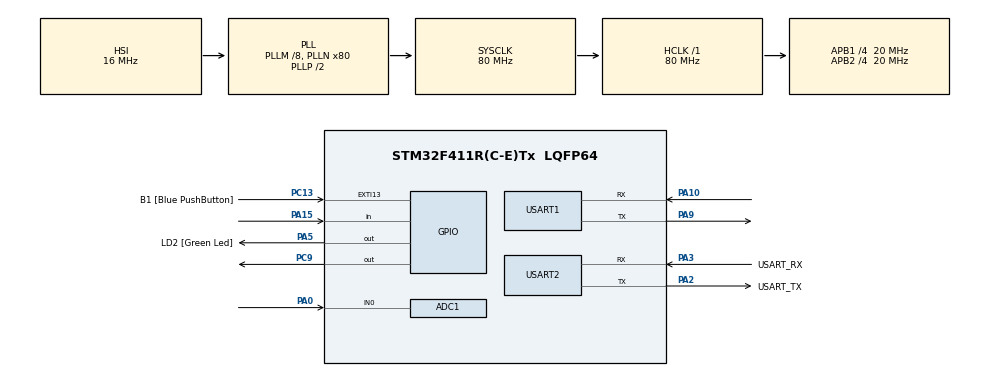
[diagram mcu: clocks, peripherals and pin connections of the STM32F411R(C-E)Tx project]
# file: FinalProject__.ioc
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ADC1.Channel-0\#ChannelRegularConversion=ADC_CHANNEL_0
ADC1.ClockPrescaler=ADC_CLOCK_SYNC_PCLK_DIV8
ADC1.ContinuousConvMode=ENABLE
ADC1.EOCSelection=ADC_EOC_SEQ_CONV
ADC1.InjNumberOfConversion=0
ADC1.NbrOfConversion=1
ADC1.NbrOfConversionFlag=1
ADC1.Rank-0\#ChannelRegularConversion=1
ADC1.Resolution=ADC_RESOLUTION_10B
ADC1.SamplingTime-0\#ChannelRegularConversion=ADC_SAMPLETIME_3CYCLES
ADC1.ScanConvMode=ENABLE
ADC1.master=1
Dma.Request0=USART2_RX
Dma.USART2_RX.0.Direction=DMA_PERIPH_TO_MEMORY
Dma.USART2_RX.0.FIFOMode=DMA_FIFOMODE_DISABLE
Dma.USART2_RX.0.Instance=DMA1_Stream5
Dma.USART2_RX.0.MemDataAlignment=DMA_MDATAALIGN_BYTE
Dma.USART2_RX.0.MemInc=DMA_MINC_ENABLE
Dma.USART2_RX.0.Mode=DMA_CIRCULAR
Dma.USART2_RX.0.PeriphDataAlignment=DMA_PDATAALIGN_BYTE
Dma.USART2_RX.0.PeriphInc=DMA_PINC_DISABLE
Dma.USART2_RX.0.Priority=DMA_PRIORITY_LOW
Mcu.Family=STM32F4
Mcu.Name=STM32F411R(C-E)Tx
Mcu.Package=LQFP64
NVIC.ADC_IRQn=true\:0\:0\:false\:false\:true\:true\:true
NVIC.DMA1_Stream5_IRQn=true\:0\:0\:false\:false\:true\:false\:true
NVIC.PriorityGroup=NVIC_PRIORITYGROUP_0
NVIC.TIM1_UP_TIM10_IRQn=true\:0\:0\:false\:false\:true\:true\:true
NVIC.TIM3_IRQn=true\:0\:0\:false\:false\:true\:true\:true
NVIC.USART2_IRQn=true\:0\:0\:false\:false\:true\:true\:true
PA0-WKUP.Signal=ADCx_IN0
PA10.Mode=Asynchronous
PA10.Signal=USART1_RX
PA13.GPIO_Label=TMS
PA13.Mode=Serial_Wire
PA13.Signal=SYS_JTMS-SWDIO
PA14.GPIO_Label=TCK
PA14.Mode=Serial_Wire
PA14.Signal=SYS_JTCK-SWCLK
PA15.Signal=GPIO_Input
PA2.GPIO_Label=USART_TX
PA2.Mode=Asynchronous
PA2.Signal=USART2_TX
PA3.GPIO_Label=USART_RX
PA3.Mode=Asynchronous
PA3.Signal=USART2_RX
PA5.GPIO_Label=LD2 [Green Led]
PA5.GPIO_ModeDefaultOutputPP=GPIO_MODE_OUTPUT_OD
PA5.GPIO_PuPd=GPIO_PULLUP
PA5.Signal=GPIO_Output
PA9.Mode=Asynchronous
PA9.Signal=USART1_TX
PB3.GPIO_Label=SWO
PB3.Signal=SYS_JTDO-SWO
PC13-ANTI_TAMP.GPIO_Label=B1 [Blue PushButton]
PC13-ANTI_TAMP.GPIO_ModeDefaultEXTI=GPIO_MODE_IT_FALLING
PC13-ANTI_TAMP.Signal=GPXTI13
PC14-OSC32_IN.Mode=LSE-External-Oscillator
PC14-OSC32_IN.Signal=RCC_OSC32_IN
PC15-OSC32_OUT.Mode=LSE-External-Oscillator
PC15-OSC32_OUT.Signal=RCC_OSC32_OUT
PC9.GPIO_ModeDefaultOutputPP=GPIO_MODE_OUTPUT_OD
PC9.GPIO_PuPd=GPIO_PULLUP
PC9.PinState=GPIO_PIN_SET
PC9.Signal=GPIO_Output
PH0\ -\ OSC_IN.Mode=HSE-External-Clock-Source
PH0\ -\ OSC_IN.Signal=RCC_OSC_IN
PH1\ -\ OSC_OUT.Mode=HSE-External-Clock-Source
PH1\ -\ OSC_OUT.Signal=RCC_OSC_OUT
ProjectManager.HeapSize=0x200
ProjectManager.StackSize=0x400
ProjectManager.TargetToolchain=STM32CubeIDE
RCC.48MHZClocksFreq_Value=40000000
RCC.AHBFreq_Value=80000000
RCC.APB1CLKDivider=RCC_HCLK_DIV4
RCC.APB1Freq_Value=20000000
RCC.APB1TimFreq_Value=40000000
RCC.APB2CLKDivider=RCC_HCLK_DIV4
RCC.APB2Freq_Value=20000000
RCC.APB2TimFreq_Value=40000000
RCC.CortexFreq_Value=80000000
RCC.FLatency-AdvancedSettings=FLASH_LATENCY_2
RCC.HCLKFreq_Value=80000000
RCC.HSE_VALUE=8000000
RCC.HSI_VALUE=16000000
RCC.PLLM=8
RCC.PLLN=80
RCC.SYSCLKFreq_VALUE=80000000
RCC.SYSCLKSource=RCC_SYSCLKSOURCE_PLLCLK
RCC.VCOOutputFreq_Value=160000000
SH.ADCx_IN0.0=ADC1_IN0,IN0
TIM1.Prescaler=40000 - 1
TIM3.Period=1000
TIM3.Prescaler=40000 - 1
USART1.VirtualMode=VM_ASYNC
USART2.VirtualMode=VM_ASYNC
VP_TIM1_VS_ClockSourceINT.Mode=Internal
VP_TIM3_VS_ClockSourceINT.Mode=Internal
board=NUCLEO-F411RE

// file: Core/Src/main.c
/* USER CODE BEGIN Header */
/**
  ******************************************************************************
  * @file           : main.c
  * @brief          : Main program body
  ******************************************************************************
  * @attention
  *
  * <h2><center>&copy; Copyright (c) 2020 STMicroelectronics.
  * All rights reserved.</center></h2>
  *
  * This software component is licensed by ST under BSD 3-Clause license,
  * the "License"; You may not use this file except in compliance with the
  * License. You may obtain a copy of the License at:
  *                        opensource.org/licenses/BSD-3-Clause
  *
  ******************************************************************************
  */
/* USER CODE END Header */
#include "main.h"

/* USER CODE BEGIN Includes */
#include "DHT.h"
#include <math.h>
/* USER CODE END Includes */

/* USER CODE BEGIN PTD */
DHT_DataTypedef DHT11_Data;
float T1 , T2 , H1 , H2;
/* USER CODE END PTD */

/* USER CODE BEGIN PD */

#define RELAY_ON 1
#define RELAY_OFF 0
#define RELAY_GPIO GPIOA
#define RELAY_PIN GPIO_PIN_5

#define LED_WHITE 2
#define LED_NORMAL 1
#define LED_WATERING 0

#define FAN_ON 1
#define FAN_OFF 0
#define e 2.718281828459

#define FAN_GPIO GPIOC
#define FAN_PIN GPIO_PIN_9
/* USER CODE END PD */

ADC_HandleTypeDef hadc1;

TIM_HandleTypeDef htim1;
TIM_HandleTypeDef htim3;

UART_HandleTypeDef huart1;
UART_HandleTypeDef huart2;
DMA_HandleTypeDef hdma_usart2_rx;

void SystemClock_Config(void);
static void MX_GPIO_Init(void);
static void MX_DMA_Init(void);
static void MX_USART2_UART_Init(void);
static void MX_ADC1_Init(void);
static void MX_TIM1_Init(void);
static void MX_USART1_UART_Init(void);
static void MX_TIM3_Init(void);

/* USER CODE BEGIN 0 */
char serialOutBuffer[200]; // From temp code

//char rxData[20];

const int uart2_buff_size = 10;
char UART2_rxBuffer[10];
typedef struct {
	uint8_t inTemperature;
	uint8_t inHumidity;
	uint8_t outTemperature;
	uint8_t outHumidity;
	uint8_t soilMoisure;

	uint8_t fanState;
	uint8_t lightState;
	uint8_t pumpState;

}Uart2Value;

//typedef struct {
//	uint8_t inTemperature;
//	uint8_t inHumidity;
//	uint8_t outTemperature;
//	uint8_t outHumidity;
//	uint8_t soilMoisure;
//
//	uint8_t fanState;
//	uint8_t lightState;
//	uint8_t pumpState;
//
//}State;
//
//typedef struct {
//	uint8_t inTemperature;
//	uint8_t inHumidity;
//	uint8_t outTemperature;
//	uint8_t outHumidity;
//	uint8_t soilMoisure;
//
//}SensorValue;

// use values from here to send / recieve sensor / stateData
Uart2Value globalValue; // temp , hum ... set from stm aapplication ,, state setfrom uart

uint8_t forceRelayOn_FLAG = 0;
uint8_t forceRelayOff_FLAG = 0;

uint8_t autoWatering_FLAG = 1;
uint8_t debugMode_FLAG = 0;
uint8_t lightOn_FLAG = 1;
uint8_t captureMode_FLAG = 0;

void setLed(uint8_t lightingState) { // 1 == normal , 0 == watering
	if (!lightOn_FLAG) {
		// Lighting mode 'c'
		char x = 'c';
		HAL_UART_Transmit(&huart1,&x,1,100);
		return;
	}
	if (captureMode_FLAG) {
		// Lighting mode 'd' -> white light
		char x = 'd';
		HAL_UART_Transmit(&huart1,&x,1,100);
		return;
	}

	if (lightingState == LED_NORMAL) {
		// Lighting mode 'a'
		char x = 'a';
		HAL_UART_Transmit(&huart1,&x,1,100);
	}
	else {
		// Lighting mode 'b'
		char x = 'b';
		HAL_UART_Transmit(&huart1,&x,1,100);
	}
}

void setRelay(uint8_t relayState) {
	if (forceRelayOn_FLAG) {
		setLed(LED_NORMAL);
		HAL_GPIO_WritePin(RELAY_GPIO, RELAY_PIN, GPIO_PIN_SET);
		return;
	}
	if (forceRelayOff_FLAG) {
		setLed(LED_NORMAL);
		HAL_GPIO_WritePin(RELAY_GPIO, RELAY_PIN, GPIO_PIN_RESET);
		return;
	}

	if (autoWatering_FLAG) {
		if (relayState == RELAY_ON) {
			setLed(LED_WATERING);
			HAL_GPIO_WritePin(RELAY_GPIO, RELAY_PIN, GPIO_PIN_SET); // Lighting mode 'b'
		}
		else {
			setLed(LED_NORMAL);
			HAL_GPIO_WritePin(RELAY_GPIO, RELAY_PIN, GPIO_PIN_RESET); // Lighting mode 'a'
		}
	}
	else {
		setLed(LED_NORMAL);
		HAL_GPIO_WritePin(RELAY_GPIO, RELAY_PIN, GPIO_PIN_RESET); // Lighting mode 'a'
	}
}

double dp = 0;
double alpha = 0.9;
uint16_t timer_last_Dry;
uint16_t timer_StartRelay = 0;
uint8_t relayFlag = 0;
uint16_t PumpWorkingTime = 10000;
uint16_t lastProcessTime = 0;

void adcCallback(){

	if (__HAL_TIM_GET_COUNTER(&htim1) - lastProcessTime < 200) { // IRQ block other codes thus 100ms delay for each execute
		return;
	}
	lastProcessTime = __HAL_TIM_GET_COUNTER(&htim1);
	if (relayFlag){ // && __HAL_TIM_GET_COUNTER(&htim1) - timer_StartRelay < PumpWorkingTime) {
		//HAL_GPIO_WritePin(GPIOA, GPIO_PIN_5, GPIO_PIN_SET);
		setRelay(RELAY_ON);
	}
	else {
		relayFlag = 0;
		//HAL_GPIO_WritePin(GPIOA, GPIO_PIN_5, GPIO_PIN_RESET);
		setRelay(RELAY_OFF);
	}

	uint32_t readValue = HAL_ADC_GetValue(&hadc1);

	// Some Dynamic Programming
	// f(n) = alpha* f(n-1) + nowValue * (1 - alpha);
	double smoothValue = dp * alpha + readValue * (1 - alpha);
	uint8_t moisurePercent = smoothValue * 100 / 1023;

	globalValue.soilMoisure = moisurePercent;

	dp = smoothValue;
	//
	if (debugMode_FLAG){
		char out[50];
		for (int i = 0 ; i< 50 ; i++) out[i] = 0;

		sprintf(out,"Raw : %d",readValue);
		HAL_UART_Transmit(&huart2,(uint32_t *) out,50,100);

		sprintf(out," Smooth: %d\n\r",(int) smoothValue);
		HAL_UART_Transmit(&huart2,(uint32_t *) out,50,100);
	}

	// Mode 1 Force Pump to turn ON
	// Mode 2 Water when Moisure Value less than xxx  until yyy value
	// if 500 < val < 900 for 5 second .. Trigger pump until val < 300
	// Mode 3 Force pump to turn off
	// Make sure that measure value not A noise
	if (!relayFlag && ! (smoothValue > 500 && smoothValue < 900)) {
		timer_last_Dry = __HAL_TIM_GET_COUNTER(&htim1);
		relayFlag = 0;
	}
	else if (relayFlag && ! (smoothValue > 300 && smoothValue < 900)){
		timer_last_Dry = __HAL_TIM_GET_COUNTER(&htim1);
		relayFlag = 0;
	}
	else {
		// Dry Case
		uint16_t escapeTime = __HAL_TIM_GET_COUNTER(&htim1) - timer_last_Dry;
		// 1 timer tick = 0.001 second
		if (escapeTime > 5000) {// (5 Second) / (0.001 Second/Tick)
			relayFlag = 1;
			timer_StartRelay = __HAL_TIM_GET_COUNTER(&htim1);
		}
	}

}

// -----------------------  END PUMP-SOIL SYSTEM ---------------------------------------
// -----------------------  END PUMP-SOIL SYSTEM ---------------------------------------
// -----------------------  END PUMP-SOIL SYSTEM ---------------------------------------
// -----------------------  END PUMP-SOIL SYSTEM ---------------------------------------
// -----------------------  END PUMP-SOIL SYSTEM ---------------------------------------
// -----------------------  END PUMP-SOIL SYSTEM ---------------------------------------
// -----------------------  END PUMP-SOIL SYSTEM ---------------------------------------

uint8_t nowFanState = FAN_OFF;

uint64_t timerTick = 0;
void timerIRQcallback() {
//	uint16_t nowTimer =  __HAL_TIM_GET_COUNTER(&htim1);
//	sprintf(serialOutBuffer,"Timer interupted : nowTIme -> %d" , nowTimer);
//	HAL_UART_Transmit(&huart2 , (uint32_t *) serialOutBuffer , 200 , 100 );
	timerTick++;

}

uint64_t getTickTimer1() {
	return (timerTick - 1) * 65536 + (uint64_t) __HAL_TIM_GET_COUNTER(&htim1);
}

uint64_t getTimer1Second() {
	return getTickTimer1() / 1000;
}

uint8_t fanState = FAN_OFF;
uint64_t lastFanOffTimeSecond = 0;
uint64_t lastFanOnTimeSecond = 0;

uint8_t switchToOn() {
	double triggerOnProbs = 1;
	uint64_t timediff = getTimer1Second() - lastFanOffTimeSecond;
	timediff = timediff > 300 ? 300 : timediff;
	float timeFromLastOff = timediff; // Second Max = 300 ??

	float insideRHNow = H2;
	float outsideRHNow = H1;
	float diffNowRH = insideRHNow - outsideRHNow;

	double probDiffNowRh = (double) (1 / (1 + pow(e, - 0.34 * diffNowRH + 1)) );
	double probTimeFromLastOff = (double) (1 / (1 + pow(e, - 0.1 * timeFromLastOff + 1)) );
	double probInsideRh = (double) (1 / (1 + pow(e, - 0.34 * (insideRHNow - 60) + 1)) );

	triggerOnProbs = probDiffNowRh * probTimeFromLastOff * probInsideRh;
	return triggerOnProbs > 0.6;
}

uint8_t switchToOff() {
	double triggerOffProbs = 1;
	uint64_t timediff = getTimer1Second() - lastFanOnTimeSecond;
	timediff = timediff > 300 ? 300 : timediff;
	float timeFromLastOn = timediff; // Second Max = 300 ??

	float insideRHNow = H2;
	float outsideRHNow = H1;
	float diffNowRH = insideRHNow - outsideRHNow;

	double probDiffNowRh = (double) (1 / (1 + pow(e, - 0.3 * diffNowRH + 0.3)) );

	double probTimeFromLastOff = (double) (1 / (1 + pow(e, - 0.2 * timeFromLastOn + 10)) );
	probTimeFromLastOff = 1 - probTimeFromLastOff;

	double probInsideRh = (double) (1 / (1 + pow(e, - 0.4 * (insideRHNow - 45) + 3.5)) );

	triggerOffProbs = probDiffNowRh * probTimeFromLastOff * probInsideRh;
	return triggerOffProbs < 0.5;
}

uint8_t forceFanOn_FLAG = 0;
uint8_t forceFanOff_FLAG = 0;

void setFan(uint8_t targetFanState) {
//	if (targetFanState == nowFanState) return;
	if (forceFanOn_FLAG) {
		HAL_GPIO_WritePin(FAN_GPIO, FAN_PIN, GPIO_PIN_RESET);
		return;
	}
	if (forceFanOff_FLAG) {
		HAL_GPIO_WritePin(FAN_GPIO, FAN_PIN, GPIO_PIN_SET);
		return;
	}

	if (targetFanState == FAN_ON) {
		HAL_GPIO_WritePin(FAN_GPIO, FAN_PIN, GPIO_PIN_RESET);
	}
	else {
		HAL_GPIO_WritePin(FAN_GPIO, FAN_PIN, GPIO_PIN_SET);
	}
}

void fanControlLoop() {
//	float insideRH = 50;
//	float outsideRH = 60;
//	uint64_t timeInSecond = getTimer1Second();

	switch (fanState) {
		case FAN_ON :
			state_FanOn();
			break;
		case FAN_OFF :
			state_FanOff();
			break;
		default :
			break;
	}

}

void state_FanOn() {
	if (switchToOff() > 0) {
		lastFanOffTimeSecond = getTimer1Second();
		fanState = FAN_OFF;
		return;
	}

	  //sprintf(serialOutBuffer,"FAN ON                                                                                                     \n" );
	  //HAL_UART_Transmit(&huart2 , (uint32_t *) serialOutBuffer , 200 , 100 );
	  setFan(FAN_ON);

}

void state_FanOff() {
	if (switchToOn() > 0) {
		lastFanOnTimeSecond = getTimer1Second();
		fanState = FAN_ON;
		return;
	}
	  //sprintf(serialOutBuffer,"FAN OFF                                                                                                      \n" );
	  //HAL_UART_Transmit(&huart2 , (uint32_t *) serialOutBuffer , 200 , 100 );
	  //HAL_GPIO_WritePin(FAN_GPIO, FAN_PIN, GPIO_PIN_SET);
	  setFan(FAN_OFF);
}

void fanSystemHandle() {
	  setDhtPin(GPIO_PIN_15);
	  DHT_GetData(&DHT11_Data);
	  T1 = DHT11_Data.Temperature;
	  H1 = DHT11_Data.Humidity;
	  globalValue.outTemperature = (uint8_t) T1;
	  globalValue.outHumidity = (uint8_t) H1;
	  //sprintf(serialOutBuffer,"Sensor 1 : Temperature : %.2f C , Humidity : %.2f %% \n",Temperature ,Humidity );
	  //HAL_UART_Transmit(&huart2 , (uint32_t *) serialOutBuffer , 100 , 100 );
	  HAL_Delay(100);
//	  delay(100000);
	  int i = 20;
	  setDhtPin(GPIO_PIN_12);
	  DHT_GetData(&DHT11_Data);
	  T2 = DHT11_Data.Temperature;
	  H2 = DHT11_Data.Humidity + 4; // Shift up 4 %
	  globalValue.inTemperature = (uint8_t) T2;
	  globalValue.inHumidity = (uint8_t) H2;
	  int x = 30;
	  //sprintf(serialOutBuffer,"Sensor 2 : Temperature : %.2f C , Humidity : %.2f %% \n",Temperature ,Humidity );
//	  sprintf(serialOutBuffer,"Sensor 1 : Temperature : %.2f C , Humidity : %.2f %%    Sensor 2 : Temperature : %.2f C , Humidity : %.2f %% \n",T1 ,H1 , T2 , H2 );
//	  HAL_UART_Transmit(&huart2 , (uint32_t *) serialOutBuffer , 200 , 100 );
	  fanControlLoop();
}

// -----------------------  END HUMUDITY-FAN SYSTEM ------------------------------------

//void HAL_UART_RxCpltCallback(UART_HandleTypeDef *huart){
//	//if (rxData[0] == '1') debugMode_FLAG = 1;
//	//else if (rxData[0] == '0') debugMode_FLAG = 0;
//	char out[150];
//	for (int i = 0 ; i < 150 ; i++) out[i] = 0;
//	switch (rxData[0] - 'a') {
//		case 0:
//			forceRelayOn_FLAG = 1;
//			break;
//		case 1:
//			forceRelayOn_FLAG = 0;
//			break;
//		case 2:
//			autoWatering_FLAG = 1;
//			break;
//		case 3:
//			autoWatering_FLAG = 0;
//			break;
//		case 4:
//			debugMode_FLAG = 1;
//			break;
//		case 5:
//			debugMode_FLAG = 0;
//			break;
//		case 6:
//			lightOn_FLAG = 1;
//			break;
//		case 7:
//			lightOn_FLAG = 0;
//			break;
//		default :
//			break;
//	}
//	sprintf(out,"--------Information---------\n\rforcePumpOn (a,b) : %d\n\rautoWatering (c,d) : %d\n\rdebugMode_FLAG (e,f): %d\n\rlightOn (g,h) : %d\n\r",
//			(int) forceRelayOn_FLAG,
//			(int) autoWatering_FLAG,
//			(int) debugMode_FLAG ,
//			(int) lightOn_FLAG
//			);
//	HAL_UART_Transmit(&huart2,(uint32_t *) out,150,200);
//	HAL_UART_Receive_IT(&huart2, rxData, 10);
//}

void cpyTo(char * from , char * to) {
	int lengthFrom = uart2_buff_size;
	int lengthTo = uart2_buff_size;
	int minlen = lengthFrom > lengthTo ? lengthTo : lengthFrom;

	for (int i = 0 ; i < minlen ; i++) {
		to[i] = from[i];
	}
}

uint8_t checkCorrectness( char* data , int from , int to) {
	if (to - from + 1 != 8) return 0;
	if (data[from%uart2_buff_size] != 'S') return 0;
	if (data[to%uart2_buff_size] != 'E') return 0;
	// iN temp , in hum , out temp , out hum , adc // first 5 bytes
	from++;
	// fan pump light
	for (int i = 0 ; i < 3 ; i++ ) {
		if ((data[(from + i)%uart2_buff_size]) + (data[(from + 3 + i)%uart2_buff_size]) != 255) {
			return 0;
		}
	}

	return 1;

}

uint8_t getStateFromUART2(Uart2Value * values) {
	char UART2_tmpBuffer[uart2_buff_size];
	cpyTo(UART2_rxBuffer , UART2_tmpBuffer);

	int startPtr = 0;
	int endPtr = 0;

	int ansStPtr = -1;
	int ansEndPtr = -1;

	int packetLength = 8; // Fixed length
	for (int i = 0 ; i < (uart2_buff_size << 1) ; i++ ) {
		int idx = i % uart2_buff_size;
		if (UART2_tmpBuffer[idx] == 'S') {
			// Start from here
			startPtr = i;
			continue;
		}
		if (UART2_tmpBuffer[idx] == 'E') {
			endPtr = i;

			if ( checkCorrectness(UART2_tmpBuffer,startPtr , endPtr) ) {
				ansStPtr = startPtr;
				ansEndPtr = endPtr;
			}
			continue;
		}
	}

	//uint8_t inTemperature , inHumidity , outTemperature , outHumidity , soilMoisure ;

	//Uart2Value values;
//	values.inTemperature 	= UART2_tmpBuffer[ansStPtr+1];
//	values.inHumidity 		= UART2_tmpBuffer[ansStPtr+2];
//	values.outTemperature	= UART2_tmpBuffer[ansStPtr+3];
//	values.outHumidity 		= UART2_tmpBuffer[ansStPtr+4];
//	values.soilMoisure		= UART2_tmpBuffer[ansStPtr+5];
	if (ansStPtr == -1) return 0;
	values->fanState		= UART2_tmpBuffer[(ansStPtr+1)%uart2_buff_size];
	values->pumpState		= UART2_tmpBuffer[(ansStPtr+2)%uart2_buff_size];
	values->lightState		= UART2_tmpBuffer[(ansStPtr+3)%uart2_buff_size];

	return 1;

}

void sendValueUART2(Uart2Value values) {
	char txBuffer[18];
	txBuffer[0] = 'S';

	// Data
	txBuffer[1] = values.inTemperature;
	txBuffer[2] = values.inHumidity;
	txBuffer[3] = values.outTemperature;
	txBuffer[4] = values.outHumidity;
	txBuffer[5] = values.soilMoisure;

	txBuffer[6] = values.fanState;
	txBuffer[7] = values.pumpState;
	txBuffer[8] = values.lightState;

	// checkBit
	uint8_t mxValInt = 255;
	//uint8_t mxValState = 3;

	txBuffer[9]  = mxValInt - txBuffer[1];
	txBuffer[10] = mxValInt - txBuffer[2];
	txBuffer[11] = mxValInt - txBuffer[3];
	txBuffer[12] = mxValInt - txBuffer[4];
	txBuffer[13] = mxValInt - txBuffer[5];

	txBuffer[14] = mxValInt - txBuffer[6];
	txBuffer[15] = mxValInt - txBuffer[7];
	txBuffer[16] = mxValInt - txBuffer[8];

	txBuffer[17] = 'E';

	HAL_UART_Transmit(&huart2,&txBuffer,18,100);
//
//	char endLine[1];
//	endLine[0] = '\n';
//	HAL_UART_Transmit(&huart2,endLine,1,100);
}

void updateSystemState() {
//	Uart2Value globalValueFromUART2; // state set
//	Uart2Value globalValueSTM; // temp ...
	Uart2Value val;
	if (getStateFromUART2(&val)) {

		uint8_t fanState = val.fanState;
		uint8_t pumpState = val.pumpState;
		uint8_t lightState = val.lightState;

//		uint8_t forceRelayOn_FLAG = 0;
//		uint8_t forceRelayOff_FLAG = 0;
//
//		uint8_t autoWatering_FLAG = 1;
//		uint8_t debugMode_FLAG = 0;
//		uint8_t lightOn_FLAG = 1;
//		uint8_t captureMode_FLAG = 0;

		// light state
		if (lightState == 0) {
			// force off
			lightOn_FLAG = 0;
		}
		else if (lightState == 2) {
			// force white
			lightOn_FLAG = 1;
			captureMode_FLAG = 1;
		}
		else {
			// normal mode
			lightOn_FLAG = 1;
			captureMode_FLAG = 0;
		}

		// PUMP
		if (pumpState == 0) {
			// force off
			forceRelayOn_FLAG = 0;
			forceRelayOff_FLAG = 1;
		}
		else if (pumpState == 2) {
			// force on
			forceRelayOn_FLAG = 1;
			forceRelayOff_FLAG = 0;
		}
		else {
			// normal mode
			forceRelayOn_FLAG = 0;
			forceRelayOff_FLAG = 0;
		}
//
//		uint8_t forceFanOn_FLAG = 0;
//		uint8_t forceFanOff_FLAG = 0;

		// FAN
		if (fanState == 0) {
			// force off
			forceFanOn_FLAG = 0;
			forceRelayOff_FLAG = 1;
		}
		else if (fanState == 2) {
			// force on
			forceFanOn_FLAG = 1;
			forceRelayOff_FLAG = 0;
		}
		else {
			// normal mode
			forceFanOn_FLAG = 0;
			forceRelayOff_FLAG = 0;
		}

		globalValue.fanState = fanState;
		globalValue.lightState = lightState;
		globalValue.pumpState = pumpState;

	}

}

//void sendValueUart() {
//
//}

/* USER CODE END 0 */

int main(void)
{

  /* MCU Configuration--------------------------------------------------------*/

  /* Reset of all peripherals, Initializes the Flash interface and the Systick. */
  HAL_Init();

  /* Configure the system clock */
  SystemClock_Config();

  /* Initialize all configured peripherals */
  MX_GPIO_Init();
  MX_DMA_Init();
  MX_USART2_UART_Init();
  MX_ADC1_Init();
  MX_TIM1_Init();
  MX_USART1_UART_Init();
  MX_TIM3_Init();
  /* USER CODE BEGIN 2 */
  //HAL_ADC_Start(&hadc1);
  HAL_TIM_Base_Start_IT(&htim1);
  HAL_TIM_Base_Start_IT(&htim3);
//  HAL_UART_Receive_IT(&huart2, rxData, 10);
  HAL_UART_Receive_DMA (&huart2, UART2_rxBuffer, uart2_buff_size);
  HAL_ADC_Start_IT(&hadc1);
  globalValue.fanState = 1;
  globalValue.lightState = 1;
  globalValue.pumpState = 1;

  /* USER CODE END 2 */

  /* Infinite loop */
  while (1)
  {

    /* USER CODE BEGIN 3 */

	  // Stop adc irq
	  HAL_ADC_Stop_IT(&hadc1);
	  fanSystemHandle();
	  HAL_ADC_Start_IT(&hadc1);
	  // send serial here //

//	  if (getStateFromUART2(&val)) {
//		  sendValueUART2(val);
//	  }
	  updateSystemState();
	  sendValueUART2(globalValue);
	  HAL_Delay(1000);
	  // start adc irq

  }
  /* USER CODE END 3 */
}

void SystemClock_Config(void)
{
  RCC_OscInitTypeDef RCC_OscInitStruct = {0};
  RCC_ClkInitTypeDef RCC_ClkInitStruct = {0};

  /** Configure the main internal regulator output voltage
  */
  __HAL_RCC_PWR_CLK_ENABLE();
  __HAL_PWR_VOLTAGESCALING_CONFIG(PWR_REGULATOR_VOLTAGE_SCALE1);
  /** Initializes the RCC Oscillators according to the specified parameters
  * in the RCC_OscInitTypeDef structure.
  */
  RCC_OscInitStruct.OscillatorType = RCC_OSCILLATORTYPE_HSI;
  RCC_OscInitStruct.HSIState = RCC_HSI_ON;
  RCC_OscInitStruct.HSICalibrationValue = RCC_HSICALIBRATION_DEFAULT;
  RCC_OscInitStruct.PLL.PLLState = RCC_PLL_ON;
  RCC_OscInitStruct.PLL.PLLSource = RCC_PLLSOURCE_HSI;
  RCC_OscInitStruct.PLL.PLLM = 8;
  RCC_OscInitStruct.PLL.PLLN = 80;
  RCC_OscInitStruct.PLL.PLLP = RCC_PLLP_DIV2;
  RCC_OscInitStruct.PLL.PLLQ = 4;
  if (HAL_RCC_OscConfig(&RCC_OscInitStruct) != HAL_OK)
  {
    Error_Handler();
  }
  /** Initializes the CPU, AHB and APB buses clocks
  */
  RCC_ClkInitStruct.ClockType = RCC_CLOCKTYPE_HCLK|RCC_CLOCKTYPE_SYSCLK
                              |RCC_CLOCKTYPE_PCLK1|RCC_CLOCKTYPE_PCLK2;
  RCC_ClkInitStruct.SYSCLKSource = RCC_SYSCLKSOURCE_PLLCLK;
  RCC_ClkInitStruct.AHBCLKDivider = RCC_SYSCLK_DIV1;
  RCC_ClkInitStruct.APB1CLKDivider = RCC_HCLK_DIV4;
  RCC_ClkInitStruct.APB2CLKDivider = RCC_HCLK_DIV4;

  if (HAL_RCC_ClockConfig(&RCC_ClkInitStruct, FLASH_LATENCY_2) != HAL_OK)
  {
    Error_Handler();
  }
}

static void MX_ADC1_Init(void)
{

  ADC_ChannelConfTypeDef sConfig = {0};

  /** Configure the global features of the ADC (Clock, Resolution, Data Alignment and number of conversion)
  */
  hadc1.Instance = ADC1;
  hadc1.Init.ClockPrescaler = ADC_CLOCK_SYNC_PCLK_DIV8;
  hadc1.Init.Resolution = ADC_RESOLUTION_10B;
  hadc1.Init.ScanConvMode = ENABLE;
  hadc1.Init.ContinuousConvMode = ENABLE;
  hadc1.Init.DiscontinuousConvMode = DISABLE;
  hadc1.Init.ExternalTrigConvEdge = ADC_EXTERNALTRIGCONVEDGE_NONE;
  hadc1.Init.ExternalTrigConv = ADC_SOFTWARE_START;
  hadc1.Init.DataAlign = ADC_DATAALIGN_RIGHT;
  hadc1.Init.NbrOfConversion = 1;
  hadc1.Init.DMAContinuousRequests = DISABLE;
  hadc1.Init.EOCSelection = ADC_EOC_SEQ_CONV;
  if (HAL_ADC_Init(&hadc1) != HAL_OK)
  {
    Error_Handler();
  }
  /** Configure for the selected ADC regular channel its corresponding rank in the sequencer and its sample time.
  */
  sConfig.Channel = ADC_CHANNEL_0;
  sConfig.Rank = 1;
  sConfig.SamplingTime = ADC_SAMPLETIME_3CYCLES;
  if (HAL_ADC_ConfigChannel(&hadc1, &sConfig) != HAL_OK)
  {
    Error_Handler();
  }

}

static void MX_TIM1_Init(void)
{

  TIM_ClockConfigTypeDef sClockSourceConfig = {0};
  TIM_MasterConfigTypeDef sMasterConfig = {0};

  htim1.Instance = TIM1;
  htim1.Init.Prescaler = 40000 - 1;
  htim1.Init.CounterMode = TIM_COUNTERMODE_UP;
  htim1.Init.Period = 65535;
  htim1.Init.ClockDivision = TIM_CLOCKDIVISION_DIV1;
  htim1.Init.RepetitionCounter = 0;
  htim1.Init.AutoReloadPreload = TIM_AUTORELOAD_PRELOAD_DISABLE;
  if (HAL_TIM_Base_Init(&htim1) != HAL_OK)
  {
    Error_Handler();
  }
  sClockSourceConfig.ClockSource = TIM_CLOCKSOURCE_INTERNAL;
  if (HAL_TIM_ConfigClockSource(&htim1, &sClockSourceConfig) != HAL_OK)
  {
    Error_Handler();
  }
  sMasterConfig.MasterOutputTrigger = TIM_TRGO_RESET;
  sMasterConfig.MasterSlaveMode = TIM_MASTERSLAVEMODE_DISABLE;
  if (HAL_TIMEx_MasterConfigSynchronization(&htim1, &sMasterConfig) != HAL_OK)
  {
    Error_Handler();
  }

}

static void MX_TIM3_Init(void)
{

  TIM_ClockConfigTypeDef sClockSourceConfig = {0};
  TIM_MasterConfigTypeDef sMasterConfig = {0};

  htim3.Instance = TIM3;
  htim3.Init.Prescaler = 40000 - 1;
  htim3.Init.CounterMode = TIM_COUNTERMODE_UP;
  htim3.Init.Period = 1000;
  htim3.Init.ClockDivision = TIM_CLOCKDIVISION_DIV1;
  htim3.Init.AutoReloadPreload = TIM_AUTORELOAD_PRELOAD_DISABLE;
  if (HAL_TIM_Base_Init(&htim3) != HAL_OK)
  {
    Error_Handler();
  }
  sClockSourceConfig.ClockSource = TIM_CLOCKSOURCE_INTERNAL;
  if (HAL_TIM_ConfigClockSource(&htim3, &sClockSourceConfig) != HAL_OK)
  {
    Error_Handler();
  }
  sMasterConfig.MasterOutputTrigger = TIM_TRGO_RESET;
  sMasterConfig.MasterSlaveMode = TIM_MASTERSLAVEMODE_DISABLE;
  if (HAL_TIMEx_MasterConfigSynchronization(&htim3, &sMasterConfig) != HAL_OK)
  {
    Error_Handler();
  }

}

static void MX_USART1_UART_Init(void)
{

  huart1.Instance = USART1;
  huart1.Init.BaudRate = 115200;
  huart1.Init.WordLength = UART_WORDLENGTH_8B;
  huart1.Init.StopBits = UART_STOPBITS_1;
  huart1.Init.Parity = UART_PARITY_NONE;
  huart1.Init.Mode = UART_MODE_TX_RX;
  huart1.Init.HwFlowCtl = UART_HWCONTROL_NONE;
  huart1.Init.OverSampling = UART_OVERSAMPLING_16;
  if (HAL_UART_Init(&huart1) != HAL_OK)
  {
    Error_Handler();
  }

}

static void MX_USART2_UART_Init(void)
{

  huart2.Instance = USART2;
  huart2.Init.BaudRate = 115200;
  huart2.Init.WordLength = UART_WORDLENGTH_8B;
  huart2.Init.StopBits = UART_STOPBITS_1;
  huart2.Init.Parity = UART_PARITY_NONE;
  huart2.Init.Mode = UART_MODE_TX_RX;
  huart2.Init.HwFlowCtl = UART_HWCONTROL_NONE;
  huart2.Init.OverSampling = UART_OVERSAMPLING_16;
  if (HAL_UART_Init(&huart2) != HAL_OK)
  {
    Error_Handler();
  }

}

static void MX_DMA_Init(void)
{

  /* DMA controller clock enable */
  __HAL_RCC_DMA1_CLK_ENABLE();

  /* DMA interrupt init */
  /* DMA1_Stream5_IRQn interrupt configuration */
  HAL_NVIC_SetPriority(DMA1_Stream5_IRQn, 0, 0);
  HAL_NVIC_EnableIRQ(DMA1_Stream5_IRQn);

}

static void MX_GPIO_Init(void)
{
  GPIO_InitTypeDef GPIO_InitStruct = {0};

  /* GPIO Ports Clock Enable */
  __HAL_RCC_GPIOC_CLK_ENABLE();
  __HAL_RCC_GPIOH_CLK_ENABLE();
  __HAL_RCC_GPIOA_CLK_ENABLE();
  __HAL_RCC_GPIOB_CLK_ENABLE();

  /*Configure GPIO pin Output Level */
  HAL_GPIO_WritePin(LD2_GPIO_Port, LD2_Pin, GPIO_PIN_RESET);

  /*Configure GPIO pin Output Level */
  HAL_GPIO_WritePin(GPIOC, GPIO_PIN_9, GPIO_PIN_SET);

  /*Configure GPIO pin : B1_Pin */
  GPIO_InitStruct.Pin = B1_Pin;
  GPIO_InitStruct.Mode = GPIO_MODE_IT_FALLING;
  GPIO_InitStruct.Pull = GPIO_NOPULL;
  HAL_GPIO_Init(B1_GPIO_Port, &GPIO_InitStruct);

  /*Configure GPIO pin : LD2_Pin */
  GPIO_InitStruct.Pin = LD2_Pin;
  GPIO_InitStruct.Mode = GPIO_MODE_OUTPUT_OD;
  GPIO_InitStruct.Pull = GPIO_PULLUP;
  GPIO_InitStruct.Speed = GPIO_SPEED_FREQ_LOW;
  HAL_GPIO_Init(LD2_GPIO_Port, &GPIO_InitStruct);

  /*Configure GPIO pin : PC9 */
  GPIO_InitStruct.Pin = GPIO_PIN_9;
  GPIO_InitStruct.Mode = GPIO_MODE_OUTPUT_OD;
  GPIO_InitStruct.Pull = GPIO_PULLUP;
  GPIO_InitStruct.Speed = GPIO_SPEED_FREQ_LOW;
  HAL_GPIO_Init(GPIOC, &GPIO_InitStruct);

  /*Configure GPIO pin : PA15 */
  GPIO_InitStruct.Pin = GPIO_PIN_15;
  GPIO_InitStruct.Mode = GPIO_MODE_INPUT;
  GPIO_InitStruct.Pull = GPIO_NOPULL;
  HAL_GPIO_Init(GPIOA, &GPIO_InitStruct);

}

void Error_Handler(void)
{
}

/************************ (C) COPYRIGHT STMicroelectronics *****END OF FILE****/
